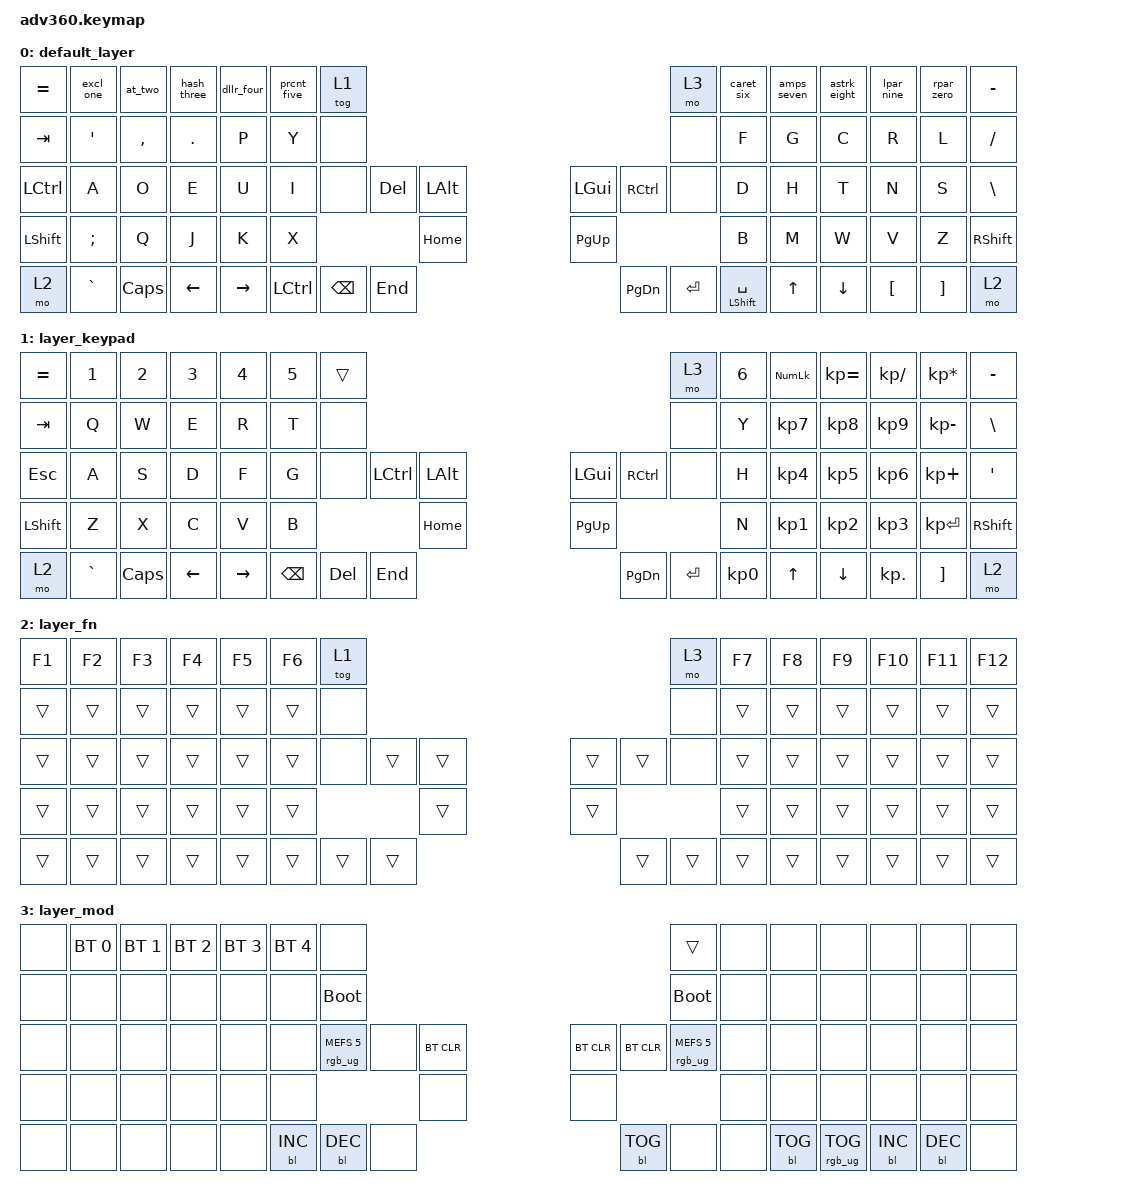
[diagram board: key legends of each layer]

/*
 * Copyright (c) 2020 The ZMK Contributors
 *
 * SPDX-License-Identifier: MIT
 */


/* THIS FILE WAS GENERATED!
 *
 * This file was generated automatically. You may or may not want to
 * edit it directly.
 */

#include <behaviors.dtsi>
#include <dt-bindings/zmk/keys.h>
#include <dt-bindings/zmk/bt.h>
#include <dt-bindings/zmk/rgb.h>
#include <dt-bindings/zmk/backlight.h>

/ {
  behaviors {
    #include "macros.dtsi"

    hm: homerow_mods {
        compatible = "zmk,behavior-hold-tap";
        label = "HOMEROW_MODS";
        #binding-cells = <2>;
        tapping-term-ms = <200>;
        quick_tap_ms = <175>;
        flavor = "tap-preferred";
        bindings = <&kp>, <&kp>;
    };

    excl_one: excl_one {
        compatible = "zmk,behavior-mod-morph";
        label = "EXCL_ONE";
        #binding-cells = <0>;
        bindings = <&kp EXCL>, <&kp KP_N1>;
        mods = <(MOD_LSFT|MOD_RSFT)>;
    };

    at_two: at_two {
        compatible = "zmk,behavior-mod-morph";
        label = "AT_TWO";
        #binding-cells = <0>;
        bindings = <&kp AT>, <&kp KP_N2>;
        mods = <(MOD_LSFT|MOD_RSFT)>;
    };

    hash_three: hash_three {
        compatible = "zmk,behavior-mod-morph";
        label = "HASH_THREE";
        #binding-cells = <0>;
        bindings = <&kp HASH>, <&kp KP_N3>;
        mods = <(MOD_LSFT|MOD_RSFT)>;
    };

    dllr_four: dllr_four {
        compatible = "zmk,behavior-mod-morph";
        label = "DLLR_FOUR";
        #binding-cells = <0>;
        bindings = <&kp DLLR>, <&kp KP_N4>;
        mods = <(MOD_LSFT|MOD_RSFT)>;
    };

    prcnt_five: prcnt_five {
        compatible = "zmk,behavior-mod-morph";
        label = "PRCNT_FIVE";
        #binding-cells = <0>;
        bindings = <&kp PRCNT>, <&kp KP_N5>;
        mods = <(MOD_LSFT|MOD_RSFT)>;
    };

    caret_six: caret_six {
        compatible = "zmk,behavior-mod-morph";
        label = "CARET_SIX";
        #binding-cells = <0>;
        bindings = <&kp CARET>, <&kp KP_N6>;
        mods = <(MOD_LSFT|MOD_RSFT)>;
    };

    amps_seven: amps_seven {
        compatible = "zmk,behavior-mod-morph";
        label = "AMPS_SEVEN";
        #binding-cells = <0>;
        bindings = <&kp AMPS>, <&kp KP_N7>;
        mods = <(MOD_LSFT|MOD_RSFT)>;
    };

    astrk_eight: astrk_eight {
        compatible = "zmk,behavior-mod-morph";
        label = "ASTRK_EIGHT";
        #binding-cells = <0>;
        bindings = <&kp ASTRK>, <&kp KP_N8>;
        mods = <(MOD_LSFT|MOD_RSFT)>;
    };

    lpar_nine: lpar_nine {
        compatible = "zmk,behavior-mod-morph";
        label = "LPAR_NINE";
        #binding-cells = <0>;
        bindings = <&kp LPAR>, <&kp KP_N9>;
        mods = <(MOD_LSFT|MOD_RSFT)>;
    };

    rpar_zero: rpar_zero {
        compatible = "zmk,behavior-mod-morph";
        label = "RPAR_ZERO";
        #binding-cells = <0>;
        bindings = <&kp RPAR>, <&kp KP_N0>;
        mods = <(MOD_LSFT|MOD_RSFT)>;
    };
  };

    keymap {
        compatible = "zmk,keymap";


        default_layer {
            bindings = <
 &kp EQUAL     &excl_one     &at_two    &hash_three     &dllr_four  &prcnt_five               &tog 1                                                                &mo 3  &caret_six  &amps_seven    &astrk_eight    &lpar_nine    &rpar_zero  &kp MINUS
   &kp TAB    &kp SQT  &kp COMMA   &kp DOT      &kp P   &kp Y                &none                                                                &none   &kp F   &kp G     &kp C     &kp R     &kp L   &kp FSLH
 &kp LCTRL      &kp A      &kp O     &kp E      &kp U   &kp I                &none   &kp DEL  &kp LALT                   &kp LGUI  &kp RCTRL      &none   &kp D   &kp H     &kp T     &kp N     &kp S   &kp BSLH
 &kp LSHFT   &kp SEMI      &kp Q     &kp J      &kp K   &kp X                                 &kp HOME                  &kp PG_UP                         &kp B   &kp M     &kp W     &kp V     &kp Z  &kp RSHFT
     &mo 2  &kp GRAVE   &kp CAPS  &kp LEFT  &kp RIGHT                    &kp LCTRL  &kp BSPC   &kp END                  &kp PG_DN  &kp ENTER  &mt LSHIFT SPACE          &kp UP  &kp DOWN  &kp LBKT  &kp RBKT      &mo 2
            >;
        };

        layer_keypad {
            bindings = <
 &kp EQUAL     &kp N1    &kp N2    &kp N3     &kp N4  &kp N5              &trans                                                                 &mo 3  &kp N6  &kp KP_NUM  &kp KP_EQUAL  &kp KP_DIVIDE  &kp KP_MULTIPLY  &kp MINUS
   &kp TAB      &kp Q     &kp W     &kp E      &kp R   &kp T               &none                                                                 &none   &kp Y   &kp KP_N7     &kp KP_N8      &kp KP_N9     &kp KP_MINUS   &kp BSLH
   &kp ESC      &kp A     &kp S     &kp D      &kp F   &kp G               &none  &kp LCTRL  &kp LALT                   &kp LGUI  &kp RCTRL      &none   &kp H   &kp KP_N4     &kp KP_N5      &kp KP_N6      &kp KP_PLUS    &kp SQT
 &kp LSHFT      &kp Z     &kp X     &kp C      &kp V   &kp B                                 &kp HOME                  &kp PG_UP                         &kp N   &kp KP_N1     &kp KP_N2      &kp KP_N3     &kp KP_ENTER  &kp RSHFT
     &mo 2  &kp GRAVE  &kp CAPS  &kp LEFT  &kp RIGHT                    &kp BSPC    &kp DEL   &kp END                  &kp PG_DN  &kp ENTER  &kp KP_N0              &kp UP      &kp DOWN     &kp KP_DOT         &kp RBKT      &mo 2
            >;
        };

        layer_fn {
            bindings = <
 &kp F1  &kp F2  &kp F3  &kp F4  &kp F5  &kp F6            &tog 1                                                   &mo 3  &kp F7  &kp F8  &kp F9  &kp F10  &kp F11  &kp F12
 &trans  &trans  &trans  &trans  &trans  &trans             &none                                                   &none  &trans  &trans  &trans   &trans   &trans   &trans
 &trans  &trans  &trans  &trans  &trans  &trans             &none  &trans  &trans                  &trans  &trans   &none  &trans  &trans  &trans   &trans   &trans   &trans
 &trans  &trans  &trans  &trans  &trans  &trans                            &trans                  &trans                  &trans  &trans  &trans   &trans   &trans   &trans
 &trans  &trans  &trans  &trans  &trans                    &trans  &trans  &trans                  &trans  &trans  &trans          &trans  &trans   &trans   &trans   &trans
            >;
        };

        layer_mod {
            bindings = <
  &none  &bt BT_SEL 0  &bt BT_SEL 1  &bt BT_SEL 2  &bt BT_SEL 3  &bt BT_SEL 4                             &none                                                                                  &trans   &none       &none            &none       &none       &none   &none
  &none         &none         &none         &none         &none         &none                       &bootloader                                                                             &bootloader   &none       &none            &none       &none       &none   &none
  &none         &none         &none         &none         &none         &none            &rgb_ug RGB_MEFS_CMD 5       &none  &bt BT_CLR                  &bt BT_CLR  &bt BT_CLR  &rgb_ug RGB_MEFS_CMD 5   &none       &none            &none       &none       &none   &none
  &none         &none         &none         &none         &none         &none                                                     &none                       &none                                       &none       &none            &none       &none       &none   &none
  &none         &none         &none         &none         &none                                      &bl BL_INC  &bl BL_DEC       &none                  &bl BL_TOG       &none                   &none          &bl BL_TOG  &rgb_ug RGB_TOG  &bl BL_INC  &bl BL_DEC   &none
            >;
        };

    };
};
